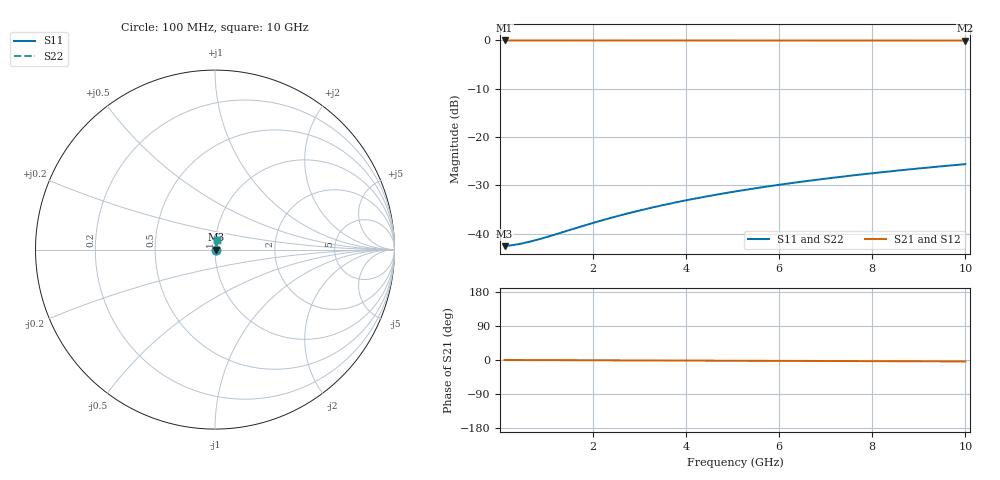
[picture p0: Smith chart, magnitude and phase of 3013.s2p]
# Hz S RI R 50.00
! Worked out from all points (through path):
!   100 points, 100 MHz to 10 GHz, reference 50 ohm
!   highest |S21| = -0.06 dB at 100 MHz (marker M1); lowest = -0.1 dB at 10 GHz (marker M2)
!   lowest |S11| = -42.5 dB at 100 MHz (marker M3), VSWR 1.02, Z = 50.7 + j0.0521 ohm
!   |S11| at or under -10 dB: start of sweep to end of sweep
!   |S22| runs from -42.5 to -25.6 dB; largest |S21 - S12| = 0
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1e8  0.00744 0.000514  0.9926 -0.000656  0.9926 -0.000656  0.00744 0.000514
3e8  0.00753 0.00154  0.9925 -0.00197  0.9925 -0.00197  0.00753 0.00154
4e8  0.00756 0.00205  0.9924 -0.00262  0.9924 -0.00262  0.00756 0.00205
5e8  0.00759 0.00257  0.9924 -0.00328  0.9924 -0.00328  0.00759 0.00257
7e8  0.00764 0.00359  0.9924 -0.00459  0.9924 -0.00459  0.00764 0.00359
1e9  0.0077 0.00513  0.9923 -0.00655  0.9923 -0.00655  0.0077 0.00513
1.8e9  0.00787 0.00924  0.9921 -0.0118  0.9921 -0.0118  0.00787 0.00924
2.2e9  0.00796 0.0113  0.992 -0.0144  0.992 -0.0144  0.00796 0.0113
2.6e9  0.00805 0.0133  0.9919 -0.017  0.9919 -0.017  0.00805 0.0133
3e9  0.00815 0.0154  0.9918 -0.0197  0.9918 -0.0197  0.00815 0.0154
3.4e9  0.00827 0.0174  0.9917 -0.0223  0.9917 -0.0223  0.00827 0.0174
3.8e9  0.00839 0.0195  0.9916 -0.0249  0.9916 -0.0249  0.00839 0.0195
4.2e9  0.00852 0.0215  0.9915 -0.0275  0.9915 -0.0275  0.00852 0.0215
4.6e9  0.00865 0.0236  0.9913 -0.0301  0.9913 -0.0301  0.00865 0.0236
5.1e9  0.00884 0.0262  0.9911 -0.0334  0.9911 -0.0334  0.00884 0.0262
5.5e9  0.009 0.0282  0.991 -0.036  0.991 -0.036  0.009 0.0282
5.9e9  0.00918 0.0302  0.9908 -0.0386  0.9908 -0.0386  0.00918 0.0302
6.7e9  0.00955 0.0343  0.9904 -0.0438  0.9904 -0.0438  0.00955 0.0343
7.5e9  0.00997 0.0384  0.99 -0.0491  0.99 -0.0491  0.00997 0.0384
8.4e9  0.0105 0.043  0.9894 -0.0549  0.9894 -0.0549  0.0105 0.043
9.2e9  0.011 0.0471  0.9889 -0.0602  0.9889 -0.0602  0.011 0.0471
1e10  0.0115 0.0512  0.9883 -0.0654  0.9883 -0.0654  0.0115 0.0512
